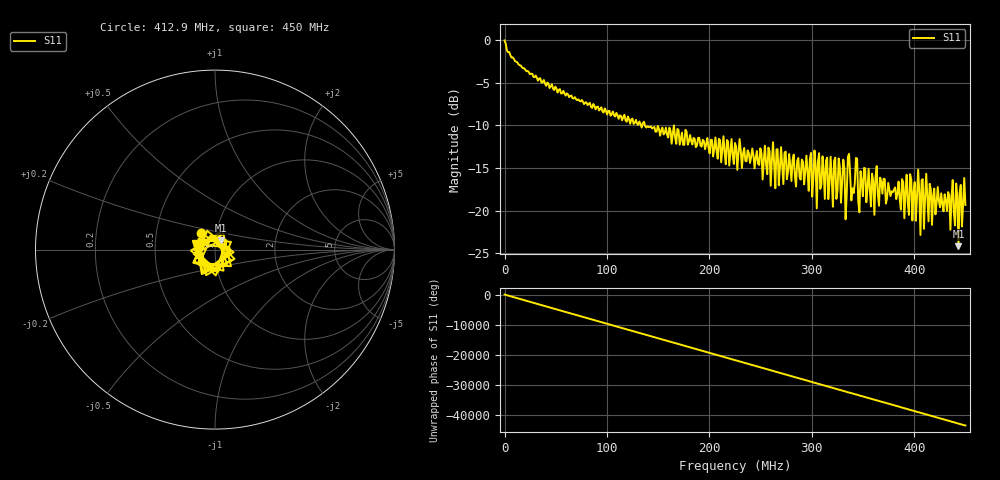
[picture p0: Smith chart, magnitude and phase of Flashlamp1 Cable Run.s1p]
! NanoVNA-App
! Date: 2026-10-06 14:36:55
! Start: 50kHz Stop: 450MHz Points: 401
! S-Parameter data: F S11
# Hz S RI R 50
!  Frequency  S11_Real  S11_Imag
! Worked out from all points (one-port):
!   401 points, 50 kHz to 450 MHz, reference 50 ohm
!   lowest |S11| = -24.2 dB at 443.3 MHz (marker M1), VSWR 1.13, Z = 53.3 + j5.45 ohm
!   |S11| at or under -10 dB: 133.2 MHz to 134.5 MHz (1.259 MHz wide, 0.94 % of centre); 137.1 MHz to end of sweep
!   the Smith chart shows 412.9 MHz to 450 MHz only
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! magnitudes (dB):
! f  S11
! 50 kHz  0.0
! 56.29 MHz  -6.2
! 112.5 MHz  -8.8
! 168.8 MHz  -10.4
! 225 MHz  -12.1
! 281.3 MHz  -14.0
! 300.4 MHz  -18.4
! 302.6 MHz  -12.9
! 312.8 MHz  -18.6
! 318.4 MHz  -13.7
! 320.6 MHz  -19.5
! 322.9 MHz  -13.8
! 328.5 MHz  -19.1
! 330.8 MHz  -14.0
! 337.5 MHz  -15.9
! 347.6 MHz  -15.4
! 349.9 MHz  -18.3
! 358.9 MHz  -15.7
! 369 MHz  -18.0
! 393.8 MHz  -19.2
! 408.4 MHz  -16.3
! 409.5 MHz  -22.1
! 439.9 MHz  -21.7
! 441 MHz  -16.8
! 443.3 MHz  -24.2
! 445.5 MHz  -17.0
! 446.6 MHz  -21.9
! 450 MHz  -19.3
